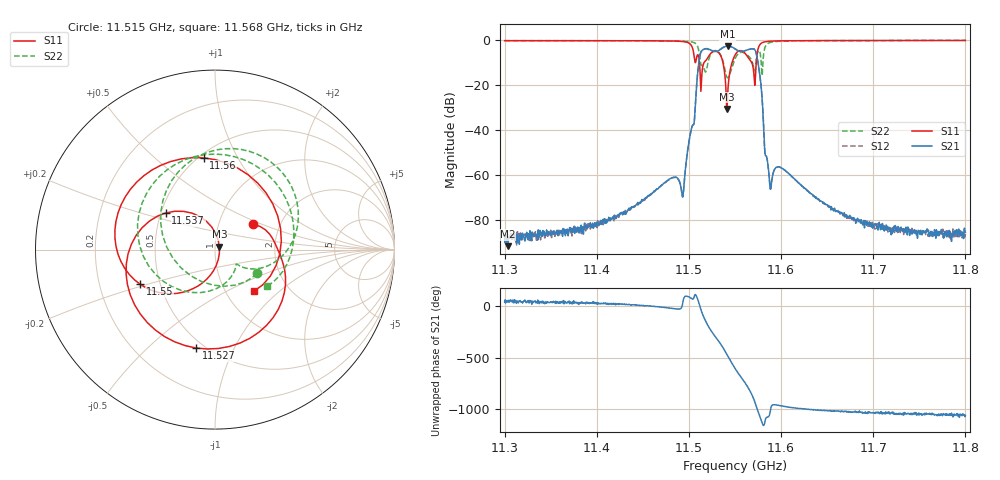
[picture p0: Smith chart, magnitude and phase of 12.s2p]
# Hz S DB R 50
! Planar, S50244, 24171007, 25.4.1/6
! Date: 15.10.2025 10:28:54
! Data: Format (Calibration Info)
! Freq	S11:dB/Ang(F2)	S21:dB/Ang(F2)	S12:dB/Ang(F2)	S22:dB/Ang(F2)
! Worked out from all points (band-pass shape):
!   1001 points, 11.3 GHz to 11.8 GHz, reference 50 ohm
!   highest |S21| = -2.76 dB at 11.542 GHz (marker M1); lowest = -91.8 dB at 11.303 GHz (marker M2)
!   |S21| within 3 dB of the highest: 11.513 GHz to 11.573 GHz (60.14 MHz wide, 0.521 % of centre)
!   lowest |S11| = -30.8 dB at 11.541 GHz (marker M3), VSWR 1.06, Z = 52.5 + j1.65 ohm
!   |S11| at or under -10 dB: 11.51139 GHz to 11.51651 GHz (5.128 MHz wide, 0.0445 % of centre); 11.53689 GHz to 11.54686 GHz (9.969 MHz wide, 0.0864 % of centre); 11.56805 GHz to 11.57308 GHz (5.03 MHz wide, 0.0435 % of centre)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
!   |S22| runs from -16.9 to -0.2 dB; largest |S21 - S12| = 0.017
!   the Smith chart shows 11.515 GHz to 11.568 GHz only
!   S11 on the Smith chart (normalised r, x): 11.515 GHz: 1.46, +0.44; 11.527 GHz: 0.45, -0.72; 11.537 GHz: 0.53, +0.25; 11.55 GHz: 0.39, -0.19; 11.56 GHz: 0.53, +0.73; 11.568 GHz: 1.35, -0.70
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1.13e10  -0.32 144.7  -87.40 42.5  -87.20 51.3  -0.32 143.1
1.13035e10  -0.32 144.0  -91.82 54.2  -88.73 50.7  -0.31 142.5
1.13835e10  -0.33 125.6  -85.40 35.4  -83.16 40.1  -0.32 126.2
1.1467e10  -0.38 82.3  -65.91 -5.2  -65.98 -4.3  -0.35 93.6
1.14935e10  -0.70 29.8  -69.78 41.7  -69.79 41.3  -0.52 63.9
1.15035e10  -3.16 -52.7  -38.43 71.8  -38.43 73.6  -0.92 35.7
1.1515e10  -11.91 33.6  -4.41 -83.2  -4.40 -83.7  -11.44 -29.6
1.15205e10  -7.84 -16.6  -3.92 174.0  -4.12 174.0  -10.39 164.7
1.15275e10  -5.06 -100.9  -5.06 77.3  -5.06 79.1  -4.77 75.1
1.15365e10  -9.32 143.3  -3.57 -36.3  -3.42 -36.6  -8.84 -8.2
1.1541e10  -30.76 32.8  -2.78 -105.8  -2.76 -106.0  -16.37 -33.5
1.1542e10  -24.59 -72.2  -2.76 -121.6  -2.75 -121.8  -16.86 -34.4
1.155e10  -6.75 -155.2  -3.92 115.2  -3.92 115.2  -8.39 -166.3
1.15605e10  -5.76 97.1  -4.88 -19.1  -4.82 -19.3  -5.85 54.1
1.1568e10  -9.96 -46.7  -3.95 -134.8  -3.97 -134.8  -9.04 -35.5
1.1576e10  -2.80 -67.8  -12.90 32.2  -12.99 32.4  -4.72 -90.3
1.15825e10  -0.82 -122.5  -50.44 -41.9  -50.26 -41.3  -3.36 -53.3
1.1588e10  -0.56 -144.2  -65.59 43.4  -65.44 43.2  -1.14 -108.9
1.16025e10  -0.37 -173.5  -57.56 106.6  -57.51 106.8  -0.50 -159.3
1.16335e10  -0.30 159.3  -68.71 75.6  -68.79 74.5  -0.32 163.3
1.1717e10  -0.24 129.5  -83.34 53.5  -84.20 30.8  -0.24 129.5
1.18e10  -0.22 112.4  -85.60 17.2  -86.44 23.4  -0.22 112.2
